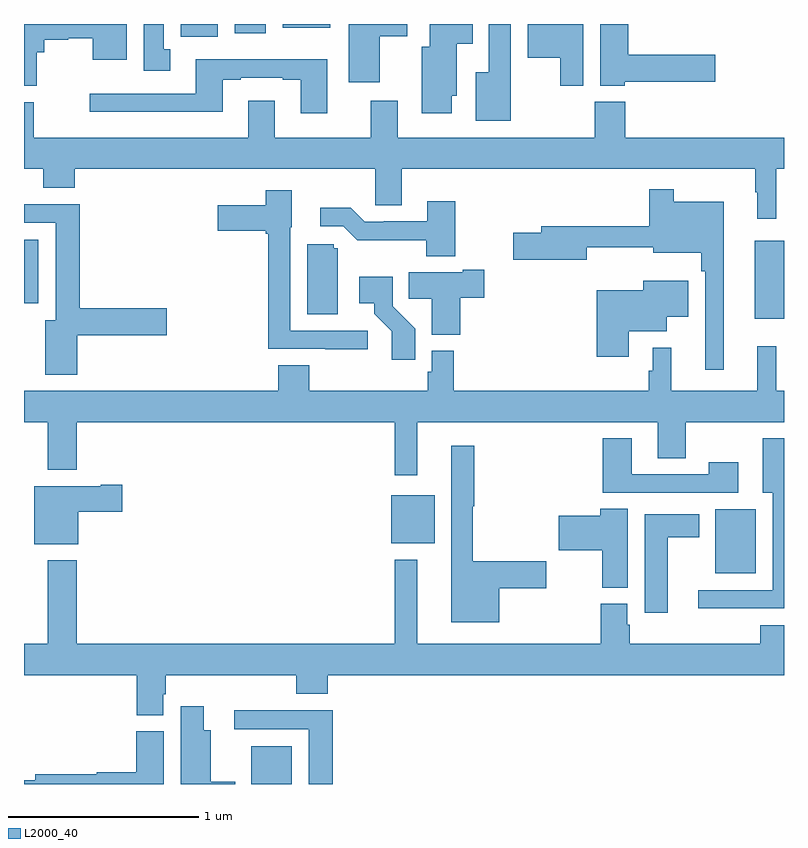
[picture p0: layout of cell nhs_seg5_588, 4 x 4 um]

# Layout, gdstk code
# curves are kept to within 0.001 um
import gdstk
lib = gdstk.Library(unit=1e-6, precision=1e-09)
def R(c, l, rs):  # rectangles x0, y0, x1, y1
    for r in rs: c.add(gdstk.rectangle(r[:2], r[2:], *l))
def P(c, l, *ps):  # polygons
    for p in ps: c.add(gdstk.Polygon(p, *l))
L2000_40 = (2000, 40)

nhs_seg5_588 = lib.new_cell('nhs_seg5_588')
R(nhs_seg5_588, L2000_40, [(148.196,910.799,148.408,910.999), (150.638,911.909,150.85,912.244), (148.934,912.065,149.161,912.319), (150.845,913.247,151,913.657), (147,913.328,147.076,913.663), (147.824,914.732,148.021,914.799), (148.109,914.75,148.273,914.799), (148.361,914.78,148.612,914.799)])
P(nhs_seg5_588, L2000_40, [(147.066,914.651),(147.106,914.651),(147.106,914.716),(147.234,914.716),(147.234,914.724),(147.362,914.724),(147.362,914.612),(147.541,914.612),(147.541,914.799),(147,914.799),(147,914.473),(147.066,914.473)],
  [(148.873,914.734),(149.017,914.734),(149.017,914.799),(148.709,914.799),(148.709,914.493),(148.873,914.493)],
  [(147.769,914.666),(147.736,914.666),(147.736,914.799),(147.629,914.799),(147.629,914.553),(147.769,914.553)],
  [(149.563,914.799),(149.447,914.799),(149.447,914.545),(149.378,914.545),(149.378,914.291),(149.563,914.291)],
  [(149.251,914.421),(149.278,914.421),(149.278,914.696),(149.362,914.696),(149.362,914.799),(149.135,914.799),(149.135,914.68),(149.093,914.68),(149.093,914.328),(149.251,914.328)],
  [(149.944,914.799),(149.651,914.799),(149.651,914.621),(149.822,914.621),(149.822,914.475),(149.944,914.475)],
  [(150.162,914.494),(150.637,914.494),(150.637,914.636),(150.179,914.636),(150.179,914.799),(150.032,914.799),(150.032,914.474),(150.162,914.474)],
  [(148.597,914.614),(147.905,914.614),(147.905,914.433),(147.345,914.433),(147.345,914.336),(148.045,914.336),(148.045,914.505),(148.141,914.505),(148.141,914.517),(148.361,914.517),(148.361,914.505),(148.457,914.505),(148.457,914.328),(148.597,914.328)],
  [(150.96,914.036),(151,914.036),(151,914.2),(150.164,914.2),(150.164,914.389),(150.004,914.389),(150.004,914.2),(148.966,914.2),(148.966,914.395),(148.826,914.395),(148.826,914.2),(148.321,914.2),(148.321,914.395),(148.181,914.395),(148.181,914.2),(147.051,914.2),(147.051,914.388),(147,914.388),(147,914.036),(147.101,914.036),(147.101,913.937),(147.266,913.937),(147.266,914.036),(148.848,914.036),(148.848,913.846),(148.987,913.846),(148.987,914.036),(150.849,914.036),(150.849,913.913),(150.86,913.913),(150.86,913.773),(150.96,913.773)],
  [(150.682,913.864),(150.421,913.864),(150.421,913.93),(150.292,913.93),(150.292,913.735),(149.723,913.735),(149.723,913.701),(149.574,913.701),(149.574,913.559),(149.962,913.559),(149.962,913.624),(150.311,913.624),(150.311,913.595),(150.565,913.595),(150.565,913.499),(150.585,913.499),(150.585,912.978),(150.682,912.978)],
  [(148.81,913.185),(148.401,913.185),(148.401,913.728),(148.408,913.728),(148.408,913.924),(148.272,913.924),(148.272,913.846),(148.02,913.846),(148.02,913.712),(148.272,913.712),(148.272,913.694),(148.285,913.694),(148.285,913.089),(148.585,913.089),(148.585,913.087),(148.81,913.087)],
  [(149.271,913.867),(149.123,913.867),(149.123,913.761),(148.894,913.761),(148.894,913.758),(148.794,913.758),(148.721,913.831),(148.56,913.831),(148.56,913.734),(148.68,913.734),(148.753,913.661),(149.116,913.662),(149.116,913.577),(149.271,913.577)],
  [(147.28,913.162),(147.751,913.162),(147.751,913.304),(147.293,913.304),(147.293,913.85),(147,913.85),(147,913.752),(147.167,913.752),(147.167,913.24),(147.113,913.24),(147.113,912.954),(147.28,912.954)],
  [(148.651,913.62),(148.629,913.62),(148.629,913.641),(148.49,913.641),(148.49,913.272),(148.651,913.272)],
  [(149.297,913.358),(149.422,913.358),(149.422,913.505),(149.309,913.505),(149.309,913.492),(149.026,913.492),(149.026,913.354),(149.147,913.354),(149.147,913.163),(149.297,913.163)],
  [(149.06,913.194),(148.941,913.313),(148.941,913.468),(148.764,913.468),(148.764,913.328),(148.844,913.328),(148.844,913.273),(148.935,913.183),(148.935,913.032),(149.06,913.032)],
  [(150.184,913.181),(150.382,913.181),(150.382,913.259),(150.496,913.259),(150.496,913.447),(150.26,913.447),(150.26,913.399),(150.014,913.399),(150.014,913.047),(150.184,913.047)],
  [(149.071,912.704),(150.335,912.704),(150.335,912.514),(150.483,912.514),(150.483,912.704),(151,912.704),(151,912.868),(150.958,912.868),(150.958,913.102),(150.86,913.102),(150.86,912.868),(150.407,912.868),(150.407,913.096),(150.309,913.096),(150.309,912.975),(150.289,912.975),(150.289,912.868),(149.261,912.868),(149.261,913.078),(149.145,913.078),(149.145,912.969),(149.125,912.969),(149.125,912.868),(148.502,912.868),(148.502,913.004),(148.337,913.004),(148.337,912.868),(147,912.868),(147,912.704),(147.125,912.704),(147.125,912.452),(147.278,912.452),(147.278,912.704),(148.95,912.704),(148.95,912.423),(149.071,912.423)],
  [(150.76,912.493),(150.604,912.493),(150.604,912.429),(150.199,912.429),(150.199,912.619),(150.047,912.619),(150.047,912.333),(150.76,912.333)],
  [(151,912.619),(150.887,912.619),(150.887,912.332),(150.941,912.332),(150.941,911.82),(150.549,911.82),(150.549,911.723),(151,911.723)],
  [(149.5,911.83),(149.749,911.83),(149.749,911.972),(149.363,911.972),(149.363,912.261),(149.371,912.261),(149.371,912.58),(149.249,912.58),(149.249,911.651),(149.5,911.651)],
  [(147.286,912.233),(147.517,912.233),(147.517,912.375),(147.404,912.375),(147.404,912.367),(147.053,912.367),(147.053,912.062),(147.286,912.062)],
  [(150.178,912.248),(150.032,912.248),(150.032,912.212),(149.814,912.212),(149.814,912.029),(150.044,912.029),(150.044,911.833),(150.178,911.833)],
  [(150.388,912.098),(150.553,912.098),(150.553,912.22),(150.266,912.22),(150.266,911.7),(150.388,911.7)],
  [(147.733,911.271),(147.746,911.271),(147.746,911.372),(148.433,911.372),(148.433,911.273),(148.598,911.273),(148.598,911.372),(151,911.372),(151,911.635),(150.875,911.635),(150.875,911.536),(150.188,911.536),(150.188,911.637),(150.175,911.637),(150.175,911.748),(150.035,911.748),(150.035,911.536),(149.071,911.536),(149.071,911.98),(148.95,911.98),(148.95,911.536),(147.278,911.536),(147.278,911.977),(147.125,911.977),(147.125,911.536),(147,911.536),(147,911.372),(147.593,911.372),(147.593,911.161),(147.733,911.161)],
  [(148.111,910.81),(147.982,910.81),(147.982,911.083),(147.946,911.083),(147.946,911.209),(147.824,911.209),(147.824,910.799),(148.111,910.799)],
  [(148.625,911.186),(148.107,911.186),(148.107,911.088),(148.499,911.088),(148.499,910.799),(148.625,910.799)],
  [(147.736,911.076),(147.59,911.076),(147.59,910.862),(147.384,910.862),(147.384,910.85),(147.059,910.85),(147.059,910.82),(147,910.82),(147,910.799),(147.736,910.799)])

lib.write_gds('nhs_seg5_588.gds')
